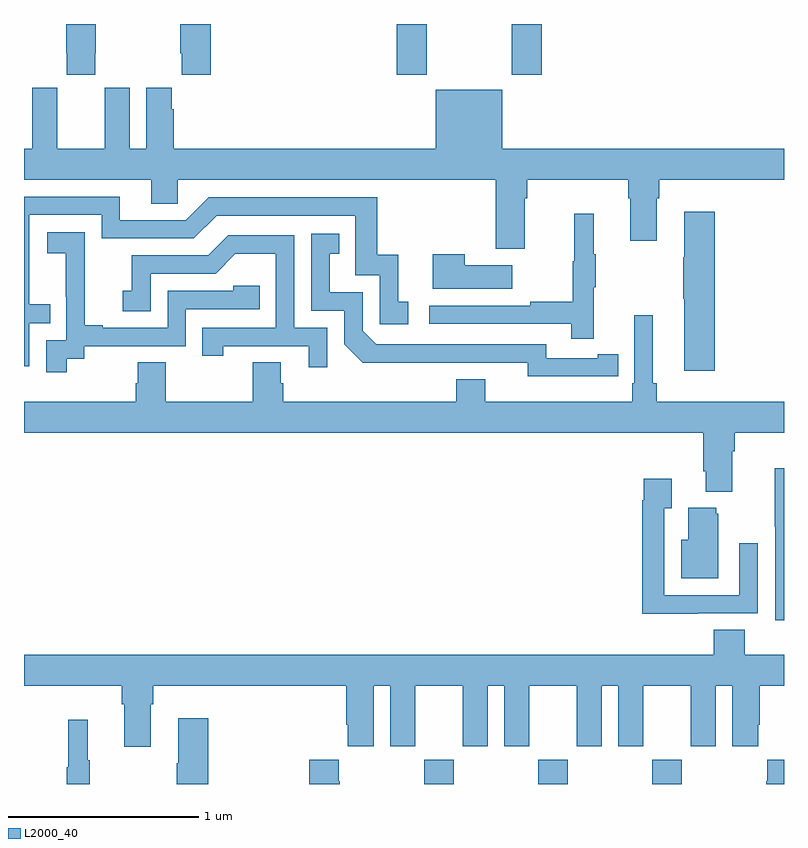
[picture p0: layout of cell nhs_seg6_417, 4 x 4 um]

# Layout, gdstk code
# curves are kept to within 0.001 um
import gdstk
lib = gdstk.Library(unit=1e-6, precision=1e-09)
def R(c, l, rs):  # rectangles x0, y0, x1, y1
    for r in rs: c.add(gdstk.rectangle(r[:2], r[2:], *l))
def A(c, l, x, y, w, h, nx, ny, dx, dy):  # array of equal rectangles
    R(c, l, [(x+i*dx, y+j*dy, x+i*dx+w, y+j*dy+h) for i in range(nx) for j in range(ny)])
def P(c, l, *ps):  # polygons
    for p in ps: c.add(gdstk.Polygon(p, *l))
L2000_40 = (2000, 40)

nhs_seg6_417 = lib.new_cell('nhs_seg6_417')
A(nhs_seg6_417, L2000_40, 137.107, 933.5, 0.155, 0.128, 3, 1, 0.6, 0)
R(nhs_seg6_417, L2000_40, [(136.961,937.233,137.121,937.5), (137.566,937.233,137.726,937.5)])
P(nhs_seg6_417, L2000_40, [(135.375,937.345),(135.378,937.345),(135.378,937.5),(135.223,937.5),(135.223,937.345),(135.225,937.345),(135.225,937.233),(135.375,937.233)],
  [(135.983,937.5),(135.823,937.5),(135.823,937.345),(135.829,937.345),(135.829,937.233),(135.983,937.233)],
  [(137.635,936.584),(137.648,936.584),(137.648,936.68),(138.179,936.68),(138.179,936.584),(138.191,936.584),(138.191,936.36),(138.331,936.36),(138.331,936.584),(138.344,936.584),(138.344,936.68),(139,936.68),(139,936.844),(137.518,936.844),(137.518,937.153),(137.168,937.153),(137.168,936.844),(135.788,936.844),(135.788,937.052),(135.778,937.052),(135.778,937.165),(135.644,937.165),(135.644,936.844),(135.556,936.844),(135.556,937.165),(135.426,937.165),(135.426,937.052),(135.425,937.052),(135.425,936.844),(135.175,936.844),(135.175,937.052),(135.174,937.052),(135.174,937.165),(135.044,937.165),(135.044,936.844),(135,936.844),(135,936.68),(135.671,936.68),(135.671,936.553),(135.81,936.553),(135.81,936.68),(137.483,936.68),(137.483,936.318),(137.635,936.318)],
  [(135.027,935.925),(135.137,935.925),(135.137,936.026),(135.027,936.026),(135.027,936.495),(135.408,936.495),(135.408,936.372),(135.894,936.372),(136.014,936.492),(136.743,936.492),(136.743,936.177),(136.872,936.177),(136.872,935.919),(137.023,935.919),(137.023,936.039),(136.97,936.039),(136.97,936.286),(136.859,936.286),(136.859,936.588),(135.972,936.588),(135.852,936.468),(135.505,936.468),(135.505,936.591),(135,936.591),(135,935.7),(135.027,935.7)],
  [(138.635,936.511),(138.476,936.511),(138.476,936.272),(138.469,936.272),(138.469,936.055),(138.476,936.055),(138.476,935.676),(138.635,935.676)],
  [(137.999,936.115),(138.01,936.115),(138.01,936.289),(137.999,936.289),(137.999,936.502),(137.896,936.502),(137.896,936.252),(137.889,936.252),(137.889,936.038),(137.665,936.038),(137.665,936.018),(137.133,936.018),(137.133,935.922),(137.881,935.922),(137.881,935.844),(137.999,935.844)],
  [(135.226,935.737),(135.318,935.737),(135.318,935.805),(135.852,935.805),(135.852,936),(136.241,936),(136.241,936.123),(136.101,936.123),(136.101,936.096),(135.756,936.096),(135.756,935.901),(135.415,935.901),(135.415,935.914),(135.32,935.914),(135.32,936.197),(135.321,936.197),(135.321,936.403),(135.123,936.403),(135.123,936.293),(135.221,936.293),(135.221,936.065),(135.222,936.065),(135.222,935.835),(135.117,935.835),(135.117,935.667),(135.226,935.667)],
  [(138.02,935.646),(138.128,935.646),(138.128,935.762),(138.02,935.762),(138.02,935.742),(137.748,935.742),(137.748,935.814),(136.854,935.814),(136.782,935.886),(136.782,936.087),(136.609,936.087),(136.609,936.291),(136.658,936.291),(136.658,936.397),(136.512,936.397),(136.512,935.991),(136.686,935.991),(136.686,935.814),(136.784,935.717),(137.652,935.718),(137.652,935.645)],
  [(136.596,935.901),(136.422,935.901),(136.422,936.387),(136.076,936.387),(135.971,936.282),(135.568,936.282),(135.568,936.097),(135.519,936.097),(135.519,935.988),(135.666,935.988),(135.666,936.186),(136.008,936.186),(136.112,936.29),(136.326,936.29),(136.326,935.901),(135.937,935.901),(135.937,935.754),(136.048,935.754),(136.048,935.805),(136.499,935.805),(136.499,935.694),(136.596,935.694)],
  [(137.569,936.229),(137.321,936.229),(137.321,936.289),(137.15,936.289),(137.15,936.107),(137.569,936.107)],
  [(138.727,935.252),(138.74,935.252),(138.74,935.348),(139,935.348),(139,935.512),(138.329,935.512),(138.329,935.608),(138.31,935.608),(138.31,935.968),(138.213,935.968),(138.213,935.608),(138.2,935.608),(138.2,935.512),(137.428,935.512),(137.428,935.629),(137.276,935.629),(137.276,935.512),(136.364,935.512),(136.364,935.61),(136.351,935.61),(136.351,935.72),(136.204,935.72),(136.204,935.512),(135.747,935.512),(135.747,935.72),(135.599,935.72),(135.599,935.61),(135.587,935.61),(135.587,935.512),(135,935.512),(135,935.348),(138.575,935.348),(138.575,935.146),(138.587,935.146),(138.587,935.039),(138.727,935.039)],
  [(139,935.162),(138.952,935.162),(138.952,934.855),(138.954,934.855),(138.954,934.362),(139,934.362)],
  [(138.545,934.398),(138.861,934.398),(138.861,934.768),(138.765,934.768),(138.765,934.494),(138.369,934.494),(138.369,934.951),(138.409,934.951),(138.409,935.107),(138.261,935.107),(138.261,934.994),(138.253,934.994),(138.253,934.397),(138.545,934.397)],
  [(138.655,934.923),(138.644,934.923),(138.644,934.954),(138.497,934.954),(138.497,934.786),(138.458,934.786),(138.458,934.583),(138.655,934.583)],
  [(135.667,933.92),(135.68,933.92),(135.68,934.016),(136.697,934.016),(136.697,933.811),(136.703,933.811),(136.703,933.699),(136.84,933.699),(136.84,934.016),(136.928,934.016),(136.928,933.699),(137.059,933.699),(137.059,934.016),(137.309,934.016),(137.309,933.699),(137.44,933.699),(137.44,934.016),(137.528,934.016),(137.528,933.699),(137.659,933.699),(137.659,934.016),(137.909,934.016),(137.909,933.699),(138.04,933.699),(138.04,934.016),(138.128,934.016),(138.128,933.699),(138.259,933.699),(138.259,934.016),(138.509,934.016),(138.509,933.699),(138.64,933.699),(138.64,934.016),(138.728,934.016),(138.728,933.699),(138.865,933.699),(138.865,933.811),(138.872,933.811),(138.872,934.016),(139,934.016),(139,934.18),(138.794,934.18),(138.794,934.313),(138.629,934.313),(138.629,934.18),(135,934.18),(135,934.016),(135.515,934.016),(135.515,933.92),(135.527,933.92),(135.527,933.696),(135.667,933.696)],
  [(135.971,933.847),(135.812,933.847),(135.812,933.608),(135.805,933.608),(135.805,933.5),(135.971,933.5)],
  [(135.346,933.625),(135.335,933.625),(135.335,933.838),(135.232,933.838),(135.232,933.588),(135.225,933.588),(135.225,933.5),(135.346,933.5)],
  [(139,933.628),(138.911,933.628),(138.911,933.515),(138.907,933.515),(138.907,933.5),(139,933.5)],
  [(136.662,933.515),(136.657,933.515),(136.657,933.628),(136.502,933.628),(136.502,933.5),(136.662,933.5)])

lib.write_gds('nhs_seg6_417.gds')
